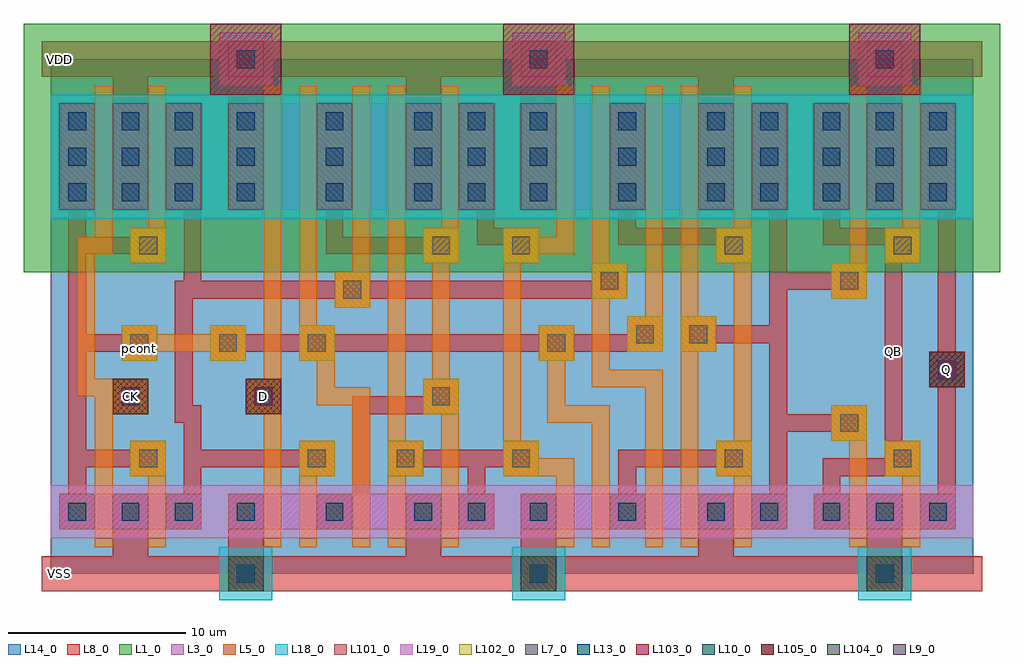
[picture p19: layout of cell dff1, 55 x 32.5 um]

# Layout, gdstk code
import gdstk
lib = gdstk.Library(unit=1e-6, precision=1e-09)
def R(c, l, rs):  # rectangles x0, y0, x1, y1
    for r in rs: c.add(gdstk.rectangle(r[:2], r[2:], *l))
L1_0 = (1, 0)
L3_0 = (3, 0)
L5_0 = (5, 0)
L7_0 = (7, 0)
L8_0 = (8, 0)
L9_0 = (9, 0)
L10_0 = (10, 0)
L13_0 = (13, 0)
L14_0 = (14, 0)
L18_0 = (18, 0)
L19_0 = (19, 0)
L101_0 = (101, 0)
L102_0 = (102, 0)
L103_0 = (103, 0)
L104_0 = (104, 0)
L105_0 = (105, 0)

dcont = lib.new_cell('dcont')
R(dcont, L3_0, [(-1,-1,1,1)])
R(dcont, L7_0, [(-0.5,-0.5,0.5,0.5)])
R(dcont, L8_0, [(-1,-1,1,1)])
R(dcont, L13_0, [(-0.5,-0.5,0.5,0.5)])
R(dcont, L101_0, [(-1,-1,1,1)])
dcont.add(gdstk.Label('dcont', (0,0), layer=13, texttype=0))

pcont = lib.new_cell('pcont')
R(pcont, L5_0, [(-1,-1,1,1)])
R(pcont, L7_0, [(-0.5,-0.5,0.5,0.5)])
R(pcont, L8_0, [(-1,-1,1,1)])
R(pcont, L102_0, [(-1,-1,1,1)])
pcont.add(gdstk.Label('pcont', (0,0), layer=13, texttype=0))

nsubcont = lib.new_cell('nsubcont')
R(nsubcont, L1_0, [(-2,-2,2,2)])
R(nsubcont, L19_0, [(-1.5,-1.5,1.5,1.5)])
R(nsubcont, L103_0, [(-2,-2,2,2)])
nsubcont.add(gdstk.Reference(dcont, (0,0)))
nsubcont.add(gdstk.Label('NScont', (0,0), layer=13, texttype=0))

via = lib.new_cell('Via')
R(via, L8_0, [(-1,-1,1,1)])
R(via, L9_0, [(-0.5,-0.5,0.5,0.5)])
R(via, L10_0, [(-1,-1,1,1)])
R(via, L13_0, [(-0.5,-0.5,0.5,0.5)])
R(via, L105_0, [(-1,-1,1,1)])
via.add(gdstk.Label('via', (0,0), layer=13, texttype=0))

psubcont = lib.new_cell('psubcont')
R(psubcont, L18_0, [(-1.5,-1.5,1.5,1.5)])
R(psubcont, L104_0, [(-1,-1,1,1)])
psubcont.add(gdstk.Reference(dcont, (0,0)))
psubcont.add(gdstk.Label('PScon', (0,0), layer=13, texttype=0))

dff1 = lib.new_cell('dff1')
R(dff1, L1_0, [(-1.5,17,53.5,31)])
R(dff1, L3_0, [(0.5,2.5,8.5,4.5), (10,2.5,25,4.5), (26.5,2.5,41.5,4.5), (43,2.5,51,4.5), (0.5,20.5,8.5,26.5), (10,20.5,25,26.5), (26.5,20.5,41.5,26.5), (43,20.5,51,26.5)])
R(dff1, L8_0, [(-0.5,-1,52.5,1), (-0.5,-1,52.5,1), (15,2.5,18,4.5), (3.5,9,5.5,11), (3.5,9,5.5,11), (11,9,13,11), (11,9,13,11), (49.5,10.5,51.5,12.5), (49.5,10.5,51.5,12.5), (-0.5,28,52.5,30), (-0.5,28,52.5,30)])
R(dff1, L10_0, [(3.5,9,5.5,11), (3.5,9,5.5,11), (11,9,13,11), (11,9,13,11), (49.5,10.5,51.5,12.5), (49.5,10.5,51.5,12.5)])
R(dff1, L14_0, [(0,0,52,29)])
R(dff1, L18_0, [(0,20,52,27)])
R(dff1, L19_0, [(0,2,52,5)])
R(dff1, L105_0, [(3.5,9,5.5,11), (11,9,13,11), (49.5,10.5,51.5,12.5)])
dff1.add(gdstk.FlexPath([(3,27),(3,18.5),(2,18.5),(2,10.5),(3,10.5),(3,2)], 1, ends="extended", simple_path=True, layer=5, datatype=0))  # L5_0
dff1.add(gdstk.FlexPath([(6,2),(6,6.5)], 1, ends="extended", simple_path=True, layer=5, datatype=0))  # L5_0
dff1.add(gdstk.FlexPath([(6,18.5),(6,27)], 1, ends="extended", simple_path=True, layer=5, datatype=0))  # L5_0
dff1.add(gdstk.FlexPath([(5,13),(10,13)], 1, ends="extended", simple_path=True, layer=5, datatype=0))  # L5_0
dff1.add(gdstk.FlexPath([(12.5,2),(12.5,27)], 1, ends="extended", simple_path=True, layer=5, datatype=0))  # L5_0
dff1.add(gdstk.FlexPath([(14.5,2),(14.5,6.5)], 1, ends="extended", simple_path=True, layer=5, datatype=0))  # L5_0
dff1.add(gdstk.FlexPath([(14.5,27),(14.5,12.5),(15.5,12.5),(15.5,10),(17.5,10),(17.5,2)], 1, ends="extended", simple_path=True, layer=5, datatype=0))  # L5_0
dff1.add(gdstk.FlexPath([(17.5,27),(17.5,15.7)], 1, ends="extended", simple_path=True, layer=5, datatype=0))  # L5_0
dff1.add(gdstk.FlexPath([(19.5,27),(19.5,2)], 1, ends="extended", simple_path=True, layer=5, datatype=0))  # L5_0
dff1.add(gdstk.FlexPath([(22.5,27),(22.5,18.5),(22,18.5),(22,9.7),(22.5,9.7),(22.5,2)], 1, ends="extended", simple_path=True, layer=5, datatype=0))  # L5_0
dff1.add(gdstk.FlexPath([(29,27),(29,18.5),(26,18.5),(26,6),(29,6),(29,2)], 1, ends="extended", simple_path=True, layer=5, datatype=0))  # L5_0
dff1.add(gdstk.FlexPath([(31,2),(31,9),(28.5,9),(28.5,13)], 1, ends="extended", simple_path=True, layer=5, datatype=0))  # L5_0
dff1.add(gdstk.FlexPath([(31,27),(31,11),(34,11),(34,2)], 1, ends="extended", simple_path=True, layer=5, datatype=0))  # L5_0
dff1.add(gdstk.FlexPath([(34,27),(34,13.4)], 1, ends="extended", simple_path=True, layer=5, datatype=0))  # L5_0
dff1.add(gdstk.FlexPath([(36,27),(36,2)], 1, ends="extended", simple_path=True, layer=5, datatype=0))  # L5_0
dff1.add(gdstk.FlexPath([(39,27),(39,2)], 1, ends="extended", simple_path=True, layer=5, datatype=0))  # L5_0
dff1.add(gdstk.FlexPath([(45.5,2),(45.5,8.4)], 1, ends="extended", simple_path=True, layer=5, datatype=0))  # L5_0
dff1.add(gdstk.FlexPath([(45.5,27),(45.5,16.9)], 1, ends="extended", simple_path=True, layer=5, datatype=0))  # L5_0
dff1.add(gdstk.FlexPath([(48.5,2),(48.5,6.4)], 1, ends="extended", simple_path=True, layer=5, datatype=0))  # L5_0
dff1.add(gdstk.FlexPath([(48.5,27),(48.5,18.6)], 1, ends="extended", simple_path=True, layer=5, datatype=0))  # L5_0
dff1.add(gdstk.FlexPath([(16,3.5),(16,4),(17.5,4),(17.5,9.5),(22,9.5)], 1, ends="extended", simple_path=True, layer=8, datatype=0))  # L8_0
dff1.add(gdstk.FlexPath([(50.5,3),(50.5,25.7)], 1, ends="extended", simple_path=True, layer=8, datatype=0))  # L8_0
dff1.add(gdstk.FlexPath([(50,22.3),(50,25.5)], 1.4, ends="extended", simple_path=True, layer=8, datatype=0))  # L8_0
dff1.add(gdstk.FlexPath([(50,22.3),(50,25.5)], 1.4, ends="extended", simple_path=True, layer=8, datatype=0))  # L8_0
dff1.add(gdstk.FlexPath([(47,21.5),(47,28.2)], 2, ends="extended", simple_path=True, layer=8, datatype=0))  # L8_0
dff1.add(gdstk.FlexPath([(47,3.5),(47,1)], 2, ends="extended", simple_path=True, layer=8, datatype=0))  # L8_0
dff1.add(gdstk.FlexPath([(44,3.5),(44,6),(47.5,6),(47.5,19),(44,19),(44,21.5)], 1, ends="extended", simple_path=True, layer=8, datatype=0))  # L8_0
dff1.add(gdstk.FlexPath([(44,22.3),(44,25.5)], 1.4, ends="extended", simple_path=True, layer=8, datatype=0))  # L8_0
dff1.add(gdstk.FlexPath([(45,16.5),(41,16.5)], 1, ends="extended", simple_path=True, layer=8, datatype=0))  # L8_0
dff1.add(gdstk.FlexPath([(45,8.5),(41,8.5)], 1, ends="extended", simple_path=True, layer=8, datatype=0))  # L8_0
dff1.add(gdstk.FlexPath([(41,25.5),(41,3.4)], 1, ends="extended", simple_path=True, layer=8, datatype=0))  # L8_0
dff1.add(gdstk.FlexPath([(40.5,22.3),(40.5,25.5)], 1.4, ends="extended", simple_path=True, layer=8, datatype=0))  # L8_0
dff1.add(gdstk.FlexPath([(36.5,13.5),(41,13.5)], 1, ends="extended", simple_path=True, layer=8, datatype=0))  # L8_0
dff1.add(gdstk.FlexPath([(37.5,21.5),(37.5,28.2)], 2, ends="extended", simple_path=True, layer=8, datatype=0))  # L8_0
dff1.add(gdstk.FlexPath([(37.5,3.5),(37.5,1)], 2, ends="extended", simple_path=True, layer=8, datatype=0))  # L8_0
dff1.add(gdstk.FlexPath([(32.5,3.5),(32.5,6.5),(38.5,6.5)], 1, ends="extended", simple_path=True, layer=8, datatype=0))  # L8_0
dff1.add(gdstk.FlexPath([(38.5,19),(32.5,19),(32.5,21.5)], 1, ends="extended", simple_path=True, layer=8, datatype=0))  # L8_0
dff1.add(gdstk.FlexPath([(32.5,22.3),(32.5,25.5)], 1.4, ends="extended", simple_path=True, layer=8, datatype=0))  # L8_0
dff1.add(gdstk.FlexPath([(27.5,21.5),(27.5,28.2)], 2, ends="extended", simple_path=True, layer=8, datatype=0))  # L8_0
dff1.add(gdstk.FlexPath([(27.5,3.5),(27.5,1)], 2, ends="extended", simple_path=True, layer=8, datatype=0))  # L8_0
dff1.add(gdstk.FlexPath([(26.5,19),(24.5,19),(24.5,21.5),(24,21.5)], 1, ends="extended", simple_path=True, layer=8, datatype=0))  # L8_0
dff1.add(gdstk.FlexPath([(24,22.3),(24,25.5)], 1.4, ends="extended", simple_path=True, layer=8, datatype=0))  # L8_0
dff1.add(gdstk.FlexPath([(24,6.5),(24,3.4)], 1, ends="extended", simple_path=True, layer=8, datatype=0))  # L8_0
dff1.add(gdstk.FlexPath([(20,6.5),(26.5,6.5)], 1, ends="extended", simple_path=True, layer=8, datatype=0))  # L8_0
dff1.add(gdstk.FlexPath([(10,13),(33.5,13)], 1, ends="extended", simple_path=True, layer=8, datatype=0))  # L8_0
dff1.add(gdstk.FlexPath([(21,21.5),(21,28.2)], 2, ends="extended", simple_path=True, layer=8, datatype=0))  # L8_0
dff1.add(gdstk.FlexPath([(21,3.5),(21,1)], 2, ends="extended", simple_path=True, layer=8, datatype=0))  # L8_0
dff1.add(gdstk.FlexPath([(8,3.3),(8,9),(7.5,9),(7.5,16),(31,16)], 1, ends="extended", simple_path=True, layer=8, datatype=0))  # L8_0
dff1.add(gdstk.FlexPath([(16,21.5),(16,18.5),(22,18.5)], 1, ends="extended", simple_path=True, layer=8, datatype=0))  # L8_0
dff1.add(gdstk.FlexPath([(16,22.3),(16,25.5)], 1.4, ends="extended", simple_path=True, layer=8, datatype=0))  # L8_0
dff1.add(gdstk.FlexPath([(14.5,6.5),(8,6.5)], 1, ends="extended", simple_path=True, layer=8, datatype=0))  # L8_0
dff1.add(gdstk.FlexPath([(11,21.5),(11,28.2)], 2, ends="extended", simple_path=True, layer=8, datatype=0))  # L8_0
dff1.add(gdstk.FlexPath([(11,3.5),(11,1)], 2, ends="extended", simple_path=True, layer=8, datatype=0))  # L8_0
dff1.add(gdstk.FlexPath([(8,25.5),(8,16)], 1, ends="extended", simple_path=True, layer=8, datatype=0))  # L8_0
dff1.add(gdstk.FlexPath([(7.5,22.3),(7.5,25.5)], 1.4, ends="extended", simple_path=True, layer=8, datatype=0))  # L8_0
dff1.add(gdstk.FlexPath([(4.5,21.5),(4.5,28.2)], 2, ends="extended", simple_path=True, layer=8, datatype=0))  # L8_0
dff1.add(gdstk.FlexPath([(4.5,3.5),(4.5,1.2)], 2, ends="extended", simple_path=True, layer=8, datatype=0))  # L8_0
dff1.add(gdstk.FlexPath([(5.5,6.5),(1.5,6.5)], 1, ends="extended", simple_path=True, layer=8, datatype=0))  # L8_0
dff1.add(gdstk.FlexPath([(5.5,18.5),(1.5,18.5)], 1, ends="extended", simple_path=True, layer=8, datatype=0))  # L8_0
dff1.add(gdstk.FlexPath([(5,13),(1.5,13)], 1, ends="extended", simple_path=True, layer=8, datatype=0))  # L8_0
dff1.add(gdstk.FlexPath([(1.5,3.5),(1.5,21.5)], 1, ends="extended", simple_path=True, layer=8, datatype=0))  # L8_0
dff1.add(gdstk.FlexPath([(1.5,22.3),(1.5,25.5)], 1.4, ends="extended", simple_path=True, layer=8, datatype=0))  # L8_0
dff1.add(gdstk.Reference(dcont, (40.5,25.5)))
dff1.add(gdstk.Reference(pcont, (5.5,6.5)))
dff1.add(gdstk.Reference(dcont, (1.5,25.5)))
dff1.add(gdstk.Reference(nsubcont, (47,29)))
dff1.add(gdstk.Reference(pcont, (26.5,18.5)))
dff1.add(gdstk.Reference(via, (12,10)))
dff1.add(gdstk.Reference(dcont, (40.5,3.5)))
dff1.add(gdstk.Reference(pcont, (48,18.5)))
dff1.add(gdstk.Reference(dcont, (4.5,21.5)))
dff1.add(gdstk.Reference(pcont, (5,13)))
dff1.add(gdstk.Reference(dcont, (50,23.5)))
dff1.add(gdstk.Reference(dcont, (1.5,23.5)))
dff1.add(gdstk.Reference(dcont, (24,23.5)))
dff1.add(gdstk.Reference(psubcont, (47,0)))
dff1.add(gdstk.Reference(dcont, (37.5,23.5)))
dff1.add(gdstk.Reference(dcont, (47,21.5)))
dff1.add(gdstk.Reference(dcont, (32.5,23.5)))
dff1.add(gdstk.Reference(via, (50.5,11.5)))
dff1.add(gdstk.Reference(dcont, (44,25.5)))
dff1.add(gdstk.Reference(dcont, (40.5,21.5)))
dff1.add(gdstk.Reference(pcont, (28.5,13)))
dff1.add(gdstk.Reference(dcont, (50,3.5)))
dff1.add(gdstk.Reference(dcont, (47,23.5)))
dff1.add(gdstk.Reference(dcont, (4.5,25.5)))
dff1.add(gdstk.Reference(dcont, (44,3.5)))
dff1.add(gdstk.Reference(dcont, (1.5,21.5)))
dff1.add(gdstk.Reference(pcont, (12,10)))
dff1.add(gdstk.Reference(pcont, (45,16.5)))
dff1.add(gdstk.Reference(dcont, (24,25.5)))
dff1.add(gdstk.Reference(psubcont, (27.5,0)))
dff1.add(gdstk.Reference(dcont, (11,21.5)))
dff1.add(gdstk.Reference(dcont, (24,3.5)))
dff1.add(gdstk.Reference(pcont, (10,13)))
dff1.add(gdstk.Reference(pcont, (45,8.5)))
dff1.add(gdstk.Reference(pcont, (31.5,16.5)))
dff1.add(gdstk.Reference(dcont, (16,21.5)))
dff1.add(gdstk.Reference(nsubcont, (11,29)))
dff1.add(gdstk.Reference(dcont, (21,25.5)))
dff1.add(gdstk.Reference(dcont, (50,21.5)))
dff1.add(gdstk.Reference(pcont, (22,18.5)))
dff1.add(gdstk.Reference(dcont, (50,25.5)))
dff1.add(gdstk.Reference(dcont, (11,25.5)))
dff1.add(gdstk.Reference(dcont, (11,3.5)))
dff1.add(gdstk.Reference(dcont, (37.5,21.5)))
dff1.add(gdstk.Reference(pcont, (17,16)))
dff1.add(gdstk.Reference(dcont, (32.5,21.5)))
dff1.add(gdstk.Reference(dcont, (24,21.5)))
dff1.add(gdstk.Reference(dcont, (40.5,23.5)))
dff1.add(gdstk.Reference(dcont, (27.5,3.5)))
dff1.add(gdstk.Reference(dcont, (44,23.5)))
dff1.add(gdstk.Reference(pcont, (26.5,6.5)))
dff1.add(gdstk.Reference(dcont, (27.5,23.5)))
dff1.add(gdstk.Reference(dcont, (7.5,21.5)))
dff1.add(gdstk.Reference(pcont, (36.5,13.5)))
dff1.add(gdstk.Reference(pcont, (15,6.5)))
dff1.add(gdstk.Reference(dcont, (4.5,3.5)))
dff1.add(gdstk.Reference(dcont, (37.5,3.5)))
dff1.add(gdstk.Reference(dcont, (21,3.5)))
dff1.add(gdstk.Reference(via, (4.5,10)))
dff1.add(gdstk.Reference(dcont, (16,3.5)))
dff1.add(gdstk.Reference(dcont, (21,21.5)))
dff1.add(gdstk.Reference(dcont, (1.5,3.5)))
dff1.add(gdstk.Reference(dcont, (4.5,23.5)))
dff1.add(gdstk.Reference(dcont, (21,23.5)))
dff1.add(gdstk.Reference(dcont, (37.5,25.5)))
dff1.add(gdstk.Reference(dcont, (27.5,21.5)))
dff1.add(gdstk.Reference(dcont, (32.5,25.5)))
dff1.add(gdstk.Reference(pcont, (20,6.5)))
dff1.add(gdstk.Reference(dcont, (47,25.5)))
dff1.add(gdstk.Reference(dcont, (16,23.5)))
dff1.add(gdstk.Reference(pcont, (38.5,6.5)))
dff1.add(gdstk.Reference(dcont, (11,23.5)))
dff1.add(gdstk.Reference(pcont, (15,13)))
dff1.add(gdstk.Reference(dcont, (27.5,25.5)))
dff1.add(gdstk.Reference(pcont, (5.5,18.5)))
dff1.add(gdstk.Reference(psubcont, (11,0)))
dff1.add(gdstk.Reference(dcont, (44,21.5)))
dff1.add(gdstk.Reference(pcont, (22,10)))
dff1.add(gdstk.Reference(pcont, (38.5,18.5)))
dff1.add(gdstk.Reference(pcont, (33.5,13.5)))
dff1.add(gdstk.Reference(dcont, (7.5,3.5)))
dff1.add(gdstk.Reference(dcont, (16,25.5)))
dff1.add(gdstk.Reference(dcont, (7.5,23.5)))
dff1.add(gdstk.Reference(pcont, (4.5,10)))
dff1.add(gdstk.Reference(dcont, (32.5,3.5)))
dff1.add(gdstk.Reference(pcont, (48,6.5)))
dff1.add(gdstk.Reference(nsubcont, (27.5,29)))
dff1.add(gdstk.Reference(dcont, (7.5,25.5)))
dff1.add(gdstk.Reference(dcont, (47,3.5)))
dff1.add(gdstk.Label('VSS', (0.5,0), layer=8, texttype=0))
dff1.add(gdstk.Label('VDD', (0.5,29), layer=8, texttype=0))
dff1.add(gdstk.Label('QB', (47.5,12.5), layer=8, texttype=0))
dff1.add(gdstk.Label('Q', (50.5,11.5), layer=10, texttype=0))
dff1.add(gdstk.Label('D', (12,10), layer=10, texttype=0))
dff1.add(gdstk.Label('CK', (4.5,10), layer=10, texttype=0))
dff1.add(gdstk.Label('via', (4.2,9.7), layer=13, texttype=0))
dff1.add(gdstk.Label('via', (4.2,9.7), layer=13, texttype=0))
dff1.add(gdstk.Label('pcont', (5,12.7), layer=13, texttype=0))
dff1.add(gdstk.Label('via', (11.7,9.7), layer=13, texttype=0))
dff1.add(gdstk.Label('via', (11.7,9.7), layer=13, texttype=0))
dff1.add(gdstk.Label('via', (50.2,11.2), layer=13, texttype=0))

lib.write_gds('dff1.gds')
